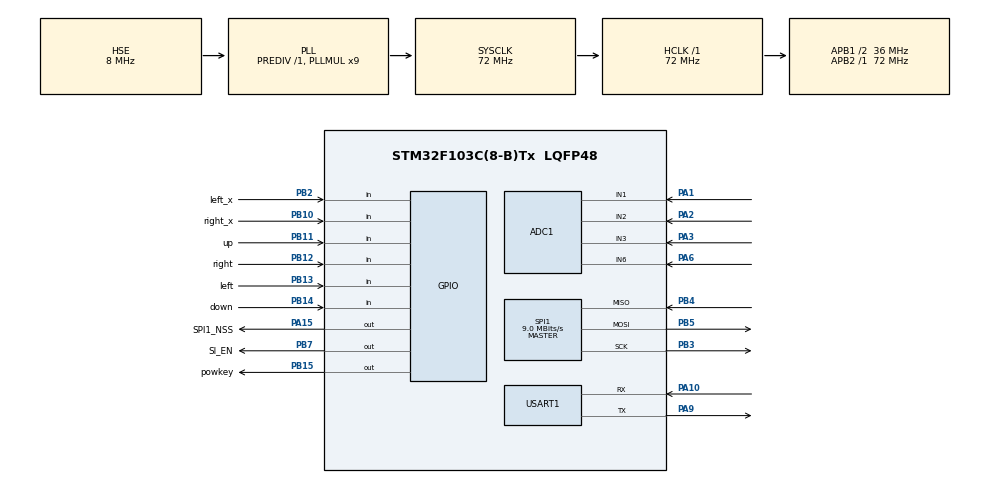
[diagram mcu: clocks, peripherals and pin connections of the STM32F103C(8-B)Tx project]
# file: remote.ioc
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ADC1.Channel-0\#ChannelRegularConversion=ADC_CHANNEL_1
ADC1.Channel-1\#ChannelRegularConversion=ADC_CHANNEL_6
ADC1.Channel-2\#ChannelRegularConversion=ADC_CHANNEL_2
ADC1.Channel-3\#ChannelRegularConversion=ADC_CHANNEL_3
ADC1.ContinuousConvMode=ENABLE
ADC1.NbrOfConversion=4
ADC1.NbrOfConversionFlag=1
ADC1.Rank-0\#ChannelRegularConversion=1
ADC1.Rank-1\#ChannelRegularConversion=2
ADC1.Rank-2\#ChannelRegularConversion=3
ADC1.Rank-3\#ChannelRegularConversion=4
ADC1.SamplingTime-0\#ChannelRegularConversion=ADC_SAMPLETIME_13CYCLES_5
ADC1.SamplingTime-1\#ChannelRegularConversion=ADC_SAMPLETIME_13CYCLES_5
ADC1.SamplingTime-2\#ChannelRegularConversion=ADC_SAMPLETIME_13CYCLES_5
ADC1.SamplingTime-3\#ChannelRegularConversion=ADC_SAMPLETIME_13CYCLES_5
ADC1.master=1
Dma.ADC1.0.Direction=DMA_PERIPH_TO_MEMORY
Dma.ADC1.0.Instance=DMA1_Channel1
Dma.ADC1.0.MemDataAlignment=DMA_MDATAALIGN_HALFWORD
Dma.ADC1.0.MemInc=DMA_MINC_ENABLE
Dma.ADC1.0.Mode=DMA_CIRCULAR
Dma.ADC1.0.PeriphDataAlignment=DMA_PDATAALIGN_HALFWORD
Dma.ADC1.0.PeriphInc=DMA_PINC_DISABLE
Dma.ADC1.0.Priority=DMA_PRIORITY_LOW
Dma.Request0=ADC1
Mcu.Family=STM32F1
Mcu.Name=STM32F103C(8-B)Tx
Mcu.Package=LQFP48
NVIC.DMA1_Channel1_IRQn=true\:0\:0\:false\:false\:true\:false\:true\:true
NVIC.PriorityGroup=NVIC_PRIORITYGROUP_4
PA1.Signal=ADCx_IN1
PA10.Mode=Asynchronous
PA10.Signal=USART1_RX
PA13.Mode=Serial_Wire
PA13.Signal=SYS_JTMS-SWDIO
PA14.Mode=Serial_Wire
PA14.Signal=SYS_JTCK-SWCLK
PA15.GPIO_Label=SPI1_NSS
PA15.PinState=GPIO_PIN_SET
PA15.Signal=GPIO_Output
PA2.Signal=ADCx_IN2
PA3.Signal=ADCx_IN3
PA6.Signal=ADCx_IN6
PA9.Mode=Asynchronous
PA9.Signal=USART1_TX
PB10.GPIO_Label=right_x
PB10.GPIO_PuPd=GPIO_PULLUP
PB10.Signal=GPIO_Input
PB11.GPIO_Label=up
PB11.GPIO_PuPd=GPIO_PULLUP
PB11.Signal=GPIO_Input
PB12.GPIO_Label=right
PB12.GPIO_PuPd=GPIO_PULLUP
PB12.Signal=GPIO_Input
PB13.GPIO_Label=left
PB13.GPIO_PuPd=GPIO_PULLUP
PB13.Signal=GPIO_Input
PB14.GPIO_Label=down
PB14.GPIO_PuPd=GPIO_PULLUP
PB14.Signal=GPIO_Input
PB15.GPIO_Label=powkey
PB15.PinState=GPIO_PIN_SET
PB15.Signal=GPIO_Output
PB2.GPIO_Label=left_x
PB2.GPIO_PuPd=GPIO_PULLUP
PB2.Signal=GPIO_Input
PB3.Mode=Full_Duplex_Master
PB3.Signal=SPI1_SCK
PB4.Mode=Full_Duplex_Master
PB4.Signal=SPI1_MISO
PB5.Mode=Full_Duplex_Master
PB5.Signal=SPI1_MOSI
PB7.GPIO_Label=SI_EN
PB7.PinState=GPIO_PIN_RESET
PB7.Signal=GPIO_Output
PC14-OSC32_IN.Mode=LSE-External-Oscillator
PC14-OSC32_IN.Signal=RCC_OSC32_IN
PC15-OSC32_OUT.Mode=LSE-External-Oscillator
PC15-OSC32_OUT.Signal=RCC_OSC32_OUT
PD0-OSC_IN.Mode=HSE-External-Oscillator
PD0-OSC_IN.Signal=RCC_OSC_IN
PD1-OSC_OUT.Mode=HSE-External-Oscillator
PD1-OSC_OUT.Signal=RCC_OSC_OUT
ProjectManager.HeapSize=0x200
ProjectManager.StackSize=0x400
ProjectManager.TargetToolchain=CMake
RCC.ADCPresc=RCC_ADCPCLK2_DIV6
RCC.AHBFreq_Value=72000000
RCC.APB1CLKDivider=RCC_HCLK_DIV2
RCC.APB1Freq_Value=36000000
RCC.APB1TimFreq_Value=72000000
RCC.APB2Freq_Value=72000000
RCC.APB2TimFreq_Value=72000000
RCC.HCLKFreq_Value=72000000
RCC.PLLMUL=RCC_PLL_MUL9
RCC.PLLSourceVirtual=RCC_PLLSOURCE_HSE
RCC.SYSCLKFreq_VALUE=72000000
RCC.SYSCLKSource=RCC_SYSCLKSOURCE_PLLCLK
RCC.USBFreq_Value=72000000
SH.ADCx_IN1.0=ADC1_IN1,IN1
SH.ADCx_IN2.0=ADC1_IN2,IN2
SH.ADCx_IN3.0=ADC1_IN3,IN3
SH.ADCx_IN6.0=ADC1_IN6,IN6
SPI1.BaudRatePrescaler=SPI_BAUDRATEPRESCALER_8
SPI1.CalculateBaudRate=9.0 MBits/s
SPI1.Direction=SPI_DIRECTION_2LINES
SPI1.Mode=SPI_MODE_MASTER
SPI1.VirtualType=VM_MASTER
USART1.VirtualMode=VM_ASYNC
board=custom

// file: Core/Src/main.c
/* USER CODE BEGIN Header */
/**
  ******************************************************************************
  * @file           : main.c
  * @brief          : Main program body
  ******************************************************************************
  * @attention
  *
  * Copyright (c) 2026 STMicroelectronics.
  * All rights reserved.
  *
  * This software is licensed under terms that can be found in the LICENSE file
  * in the root directory of this software component.
  * If no LICENSE file comes with this software, it is provided AS-IS.
  *
  ******************************************************************************
  */
/* USER CODE END Header */
#include "main.h"
#include "adc.h"
#include "dma.h"
#include "spi.h"
#include "usart.h"
#include "gpio.h"

/* USER CODE BEGIN Includes */

#include <stdio.h>
#include "app_freertos_task.h"
#include "SI24R1.h"
/* USER CODE END Includes */

/* USER CODE BEGIN PV */
volatile uint8_t g_boot_stage = 0;
/* USER CODE END PV */

void SystemClock_Config(void);
/* USER CODE BEGIN PFP */
static uint8_t HSE_Probe(void);
static void SystemClock_Config_Hsi(void);
/* USER CODE END PFP */

/* USER CODE BEGIN 0 */
/**
  * @brief  探测 8MHz 外部晶振是否起振（HSE 就绪返回 1）
  */
static uint8_t HSE_Probe(void)
{
  uint32_t timeout = 0x20000U;

  __HAL_RCC_HSE_CONFIG(RCC_HSE_ON);
  while ((__HAL_RCC_GET_FLAG(RCC_FLAG_HSERDY) == RESET) && (--timeout != 0U))
  {
  }
  return (__HAL_RCC_GET_FLAG(RCC_FLAG_HSERDY) != RESET) ? 1U : 0U;
}

/**
  * @brief  HSE 不可用时的降级方案：HSI/2 x 16 = 64MHz
  */
static void SystemClock_Config_Hsi(void)
{
  RCC_OscInitTypeDef RCC_OscInitStruct = {0};
  RCC_ClkInitTypeDef RCC_ClkInitStruct = {0};
  RCC_PeriphCLKInitTypeDef PeriphClkInit = {0};

  RCC_OscInitStruct.OscillatorType = RCC_OSCILLATORTYPE_HSI;
  RCC_OscInitStruct.HSIState = RCC_HSI_ON;
  RCC_OscInitStruct.HSICalibrationValue = RCC_HSICALIBRATION_DEFAULT;
  RCC_OscInitStruct.PLL.PLLState = RCC_PLL_ON;
  RCC_OscInitStruct.PLL.PLLSource = RCC_PLLSOURCE_HSI_DIV2;
  RCC_OscInitStruct.PLL.PLLMUL = RCC_PLL_MUL16;
  if (HAL_RCC_OscConfig(&RCC_OscInitStruct) != HAL_OK)
  {
    Error_Handler();
  }

  RCC_ClkInitStruct.ClockType = RCC_CLOCKTYPE_HCLK | RCC_CLOCKTYPE_SYSCLK
                              | RCC_CLOCKTYPE_PCLK1 | RCC_CLOCKTYPE_PCLK2;
  RCC_ClkInitStruct.SYSCLKSource = RCC_SYSCLKSOURCE_PLLCLK;
  RCC_ClkInitStruct.AHBCLKDivider = RCC_SYSCLK_DIV1;
  RCC_ClkInitStruct.APB1CLKDivider = RCC_HCLK_DIV2;
  RCC_ClkInitStruct.APB2CLKDivider = RCC_HCLK_DIV1;
  if (HAL_RCC_ClockConfig(&RCC_ClkInitStruct, FLASH_LATENCY_2) != HAL_OK)
  {
    Error_Handler();
  }

  PeriphClkInit.PeriphClockSelection = RCC_PERIPHCLK_ADC;
  PeriphClkInit.AdcClockSelection = RCC_ADCPCLK2_DIV6;
  if (HAL_RCCEx_PeriphCLKConfig(&PeriphClkInit) != HAL_OK)
  {
    Error_Handler();
  }
}
/* USER CODE END 0 */

int main(void)
{

  /* MCU Configuration--------------------------------------------------------*/

  /* Reset of all peripherals, Initializes the Flash interface and the Systick. */
  HAL_Init();

  /* USER CODE BEGIN Init */
  /* 最早期的裸串口输出：不经过 printf/HAL 状态机，用于确认串口链路 */
  UART1_RawInit();
  g_boot_stage = 1;
  UART1_RawPuts("\r\n[BOOT] stage1: HAL_Init done, raw USART1 ready\r\n");
  /* USER CODE END Init */

  /* Configure the system clock */
  g_boot_stage = 2;
  if (HSE_Probe() != 0U)
  {
    UART1_RawPuts("[BOOT] HSE(8MHz) ready\r\n");
    SystemClock_Config();
  }
  else
  {
    __HAL_RCC_HSE_CONFIG(RCC_HSE_OFF);
    UART1_RawPuts("[BOOT] HSE(8MHz) FAILED -> fallback HSI 64MHz\r\n");
    SystemClock_Config_Hsi();
  }

  /* USER CODE BEGIN SysInit */
  /* 时钟已改变，按新的 PCLK2 重算 BRR */
  UART1_RawInit();
  g_boot_stage = 3;
  UART1_RawPuts("[BOOT] stage2: clock ok, SYSCLK=");
  UART1_RawPutHex(SystemCoreClock);
  UART1_RawPuts(" PCLK2=");
  UART1_RawPutHex(HAL_RCC_GetPCLK2Freq());
  UART1_RawPuts("\r\n");
  /* USER CODE END SysInit */

  /* Initialize all configured peripherals */
  g_boot_stage = 4;
  MX_GPIO_Init();
  g_boot_stage = 5;
  MX_DMA_Init();
  g_boot_stage = 6;
  MX_USART1_UART_Init();
  g_boot_stage = 7;
  MX_SPI1_Init();
  g_boot_stage = 8;
  MX_ADC1_Init();
  /* USER CODE BEGIN 2 */
  UART1_RawPuts("[BOOT] stage3: peripheral init done\r\n");
  g_boot_stage = 9;

  if (USART1_CheckInit() == HAL_OK)
  {
    UART1_RawPuts("[UART] USART1 init OK, BRR=");
    UART1_RawPutHex(USART1->BRR);
    UART1_RawPuts(" CR1=");
    UART1_RawPutHex(USART1->CR1);
    UART1_RawPuts("\r\n");
  }
  else
  {
    UART1_RawPuts("[UART] USART1 init FAILED, BRR=");
    UART1_RawPutHex(USART1->BRR);
    UART1_RawPuts(" CR1=");
    UART1_RawPutHex(USART1->CR1);
    UART1_RawPuts(" GPIOA_CRH=");
    UART1_RawPutHex(GPIOA->CRH);
    UART1_RawPuts(" state=");
    UART1_RawPutHex((uint32_t)huart1.gState);
    UART1_RawPuts("\r\n");
    Error_Handler();
  }

#if defined(__GNUC__)
  /* 关闭 stdout 缓冲，printf 立即输出（MicroLIB 不支持 setvbuf） */
  setvbuf(stdout, NULL, _IONBF, 0);
#endif
  //使用c语言标准串口
  debug_printf("hello remote\n");
  SI24R1_Init();
  UART1_RawPuts("[BOOT] stage4: SI24R1 init done, start FreeRTOS\r\n");
  //启动rtos，后续的代码就不再执行
  app_freertos_task();

  /* USER CODE END 2 */

  /* Infinite loop */
  while (1)
  {

    /* USER CODE BEGIN 3 */
    /* 调度器返回说明创建任务失败（通常是堆不够） */
    UART1_RawPuts("[FATAL] vTaskStartScheduler() returned, check configTOTAL_HEAP_SIZE\r\n");
    HAL_Delay(1000);
    NVIC_SystemReset();
  }
  /* USER CODE END 3 */
}

void SystemClock_Config(void)
{
  RCC_OscInitTypeDef RCC_OscInitStruct = {0};
  RCC_ClkInitTypeDef RCC_ClkInitStruct = {0};
  RCC_PeriphCLKInitTypeDef PeriphClkInit = {0};

  /** Initializes the RCC Oscillators according to the specified parameters
  * in the RCC_OscInitTypeDef structure.
  */
  RCC_OscInitStruct.OscillatorType = RCC_OSCILLATORTYPE_HSE;
  RCC_OscInitStruct.HSEState = RCC_HSE_ON;
  RCC_OscInitStruct.HSEPredivValue = RCC_HSE_PREDIV_DIV1;
  RCC_OscInitStruct.HSIState = RCC_HSI_ON;
  RCC_OscInitStruct.PLL.PLLState = RCC_PLL_ON;
  RCC_OscInitStruct.PLL.PLLSource = RCC_PLLSOURCE_HSE;
  RCC_OscInitStruct.PLL.PLLMUL = RCC_PLL_MUL9;
  if (HAL_RCC_OscConfig(&RCC_OscInitStruct) != HAL_OK)
  {
    Error_Handler();
  }

  /** Initializes the CPU, AHB and APB buses clocks
  */
  RCC_ClkInitStruct.ClockType = RCC_CLOCKTYPE_HCLK|RCC_CLOCKTYPE_SYSCLK
                              |RCC_CLOCKTYPE_PCLK1|RCC_CLOCKTYPE_PCLK2;
  RCC_ClkInitStruct.SYSCLKSource = RCC_SYSCLKSOURCE_PLLCLK;
  RCC_ClkInitStruct.AHBCLKDivider = RCC_SYSCLK_DIV1;
  RCC_ClkInitStruct.APB1CLKDivider = RCC_HCLK_DIV2;
  RCC_ClkInitStruct.APB2CLKDivider = RCC_HCLK_DIV1;

  if (HAL_RCC_ClockConfig(&RCC_ClkInitStruct, FLASH_LATENCY_2) != HAL_OK)
  {
    Error_Handler();
  }
  PeriphClkInit.PeriphClockSelection = RCC_PERIPHCLK_ADC;
  PeriphClkInit.AdcClockSelection = RCC_ADCPCLK2_DIV6;
  if (HAL_RCCEx_PeriphCLKConfig(&PeriphClkInit) != HAL_OK)
  {
    Error_Handler();
  }
}

void Error_Handler(void)
{
  /* USER CODE BEGIN Error_Handler_Debug */
  /* User can add his own implementation to report the HAL error return state */
  uint32_t caller = (uint32_t)__builtin_return_address(0);
  uint8_t stage = g_boot_stage;

  UART1_RawInit();
  __disable_irq();
  /* 循环重发，便于晚于启动才打开串口助手也能看到原因 */
  while (1)
  {
    UART1_RawPuts("\r\n[FATAL] Error_Handler: init failed, stage=");
    UART1_RawPutChar((char)('0' + (stage / 10U)));
    UART1_RawPutChar((char)('0' + (stage % 10U)));
    UART1_RawPuts(" caller=");
    UART1_RawPutHex(caller);
    UART1_RawPuts("\r\n");
    for (volatile uint32_t i = 0; i < 4000000U; i++)
    {
    }
  }
  /* USER CODE END Error_Handler_Debug */
}
